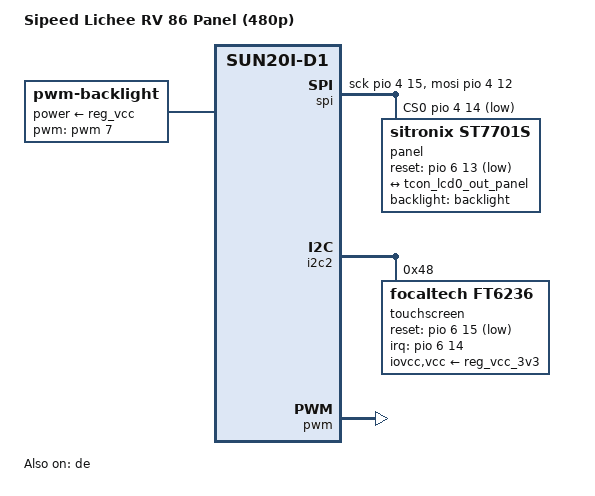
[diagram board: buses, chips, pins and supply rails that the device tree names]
// SPDX-License-Identifier: (GPL-2.0+ or MIT)
// Copyright (C) 2022 Samuel Holland <samuel@sholland.org>

#include "sun20i-d1-lichee-rv-86-panel.dtsi"

/ {
	model = "Sipeed Lichee RV 86 Panel (480p)";
	compatible = "sipeed,lichee-rv-86-panel-480p", "sipeed,lichee-rv",
		     "allwinner,sun20i-d1";

	backlight: backlight {
		compatible = "pwm-backlight";
		power-supply = <&reg_vcc>;
		pwms = <&pwm 7 50000 0>;
	};

	spi {
		compatible = "spi-gpio";
		cs-gpios = <&pio 4 14 GPIO_ACTIVE_LOW>; /* PE14 */
		mosi-gpios = <&pio 4 12 GPIO_ACTIVE_HIGH>; /* PE12 */
		sck-gpios = <&pio 4 15 GPIO_ACTIVE_HIGH>; /* PE15 */
		num-chipselects = <1>;
		#address-cells = <1>;
		#size-cells = <0>;

		panel@0 {
			compatible = "sitronix,st7701s";
			reg = <0>;
			backlight = <&backlight>;
			reset-gpios = <&pio 6 13 GPIO_ACTIVE_LOW>; /* PG13 */
			spi-3wire;

			port {
				panel_in_tcon_lcd0: endpoint {
					remote-endpoint = <&tcon_lcd0_out_panel>;
				};
			};
		};
	};
};

&de {
	status = "okay";
};

&i2c2 {
	pinctrl-0 = <&i2c2_pb0_pins>;
	pinctrl-names = "default";
	status = "okay";

	touchscreen@48 {
		compatible = "focaltech,ft6236";
		reg = <0x48>;
		interrupt-parent = <&pio>;
		interrupts = <6 14 IRQ_TYPE_LEVEL_LOW>; /* PG14 */
		iovcc-supply = <&reg_vcc_3v3>;
		reset-gpios = <&pio 6 15 GPIO_ACTIVE_LOW>; /* PG15 */
		touchscreen-size-x = <480>;
		touchscreen-size-y = <480>;
		vcc-supply = <&reg_vcc_3v3>;
		wakeup-source;
	};
};

&pwm {
	pinctrl-0 = <&pwm7_pd22_pin>;
	pinctrl-names = "default";
	status = "okay";
};

&tcon_lcd0 {
	pinctrl-0 = <&lcd_rgb666_pins>;
	pinctrl-names = "default";
};

&tcon_lcd0_out {
	tcon_lcd0_out_panel: endpoint {
		remote-endpoint = <&panel_in_tcon_lcd0>;
	};
};
